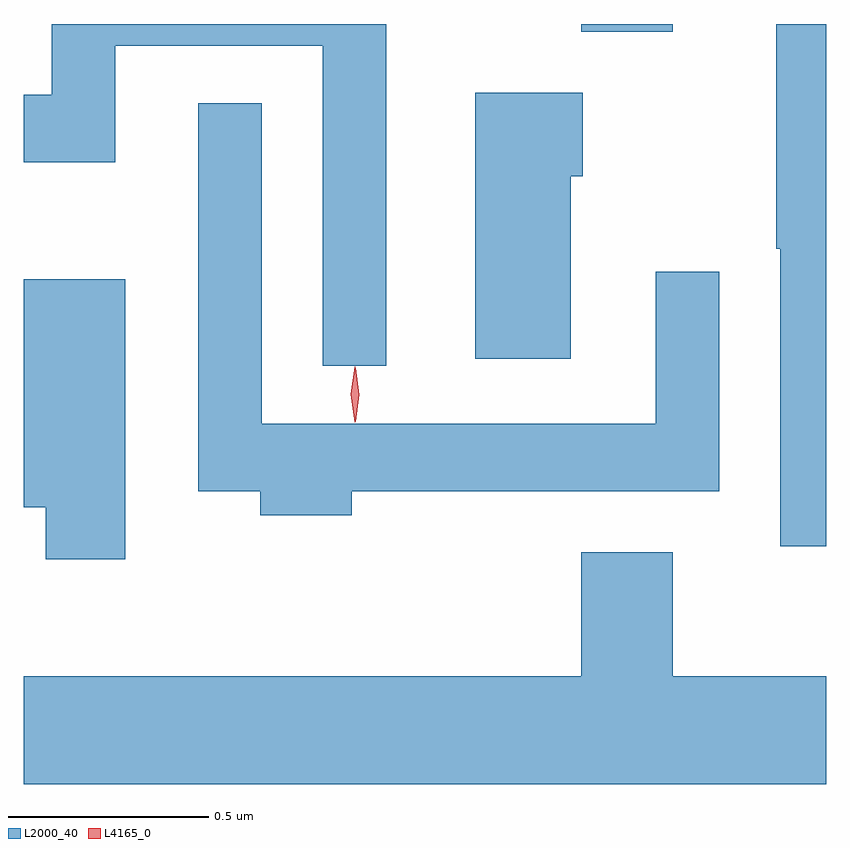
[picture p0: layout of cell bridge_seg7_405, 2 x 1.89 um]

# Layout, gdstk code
import gdstk
lib = gdstk.Library(unit=1e-6, precision=1e-09)
def R(c, l, rs):  # rectangles x0, y0, x1, y1
    for r in rs: c.add(gdstk.rectangle(r[:2], r[2:], *l))
def P(c, l, *ps):  # polygons
    for p in ps: c.add(gdstk.Polygon(p, *l))
L2000_40 = (2000, 40)
L4165_0 = (4165, 0)

bridge_seg7_405 = lib.new_cell('bridge_seg7_405')
R(bridge_seg7_405, L2000_40, [(1143.481,1745.051,1143.709,1745.07)])
P(bridge_seg7_405, L2000_40, [(1144.091,1745.07),(1143.966,1745.07),(1143.966,1744.51),(1143.976,1744.51),(1143.976,1743.768),(1144.091,1743.768)],
  [(1142.994,1745.07),(1142.161,1745.07),(1142.161,1744.894),(1142.091,1744.894),(1142.091,1744.726),(1142.319,1744.726),(1142.319,1745.016),(1142.836,1745.016),(1142.836,1744.218),(1142.994,1744.218)],
  [(1143.454,1744.691),(1143.484,1744.691),(1143.484,1744.899),(1143.216,1744.899),(1143.216,1744.236),(1143.454,1744.236)],
  [(1142.909,1743.906),(1143.824,1743.906),(1143.824,1744.453),(1143.666,1744.453),(1143.666,1744.074),(1142.684,1744.074),(1142.684,1744.873),(1142.526,1744.873),(1142.526,1743.906),(1142.681,1743.906),(1142.681,1743.846),(1142.909,1743.846)],
  [(1142.344,1744.434),(1142.091,1744.434),(1142.091,1743.866),(1142.146,1743.866),(1142.146,1743.736),(1142.344,1743.736)],
  [(1144.091,1743.444),(1143.709,1743.444),(1143.709,1743.754),(1143.481,1743.754),(1143.481,1743.444),(1142.091,1743.444),(1142.091,1743.176),(1144.091,1743.176)])
P(bridge_seg7_405, L4165_0, [(1142.916,1744.077),(1142.916,1744.078),(1142.906,1744.147),(1142.916,1744.216),(1142.916,1744.216),(1142.917,1744.216),(1142.926,1744.147),(1142.917,1744.078)],
  [(1142.917,1744.079),(1142.917,1744.08),(1142.907,1744.146),(1142.917,1744.212),(1142.917,1744.213),(1142.918,1744.212),(1142.927,1744.146),(1142.918,1744.08)])

lib.write_gds('bridge_seg7_405.gds')
